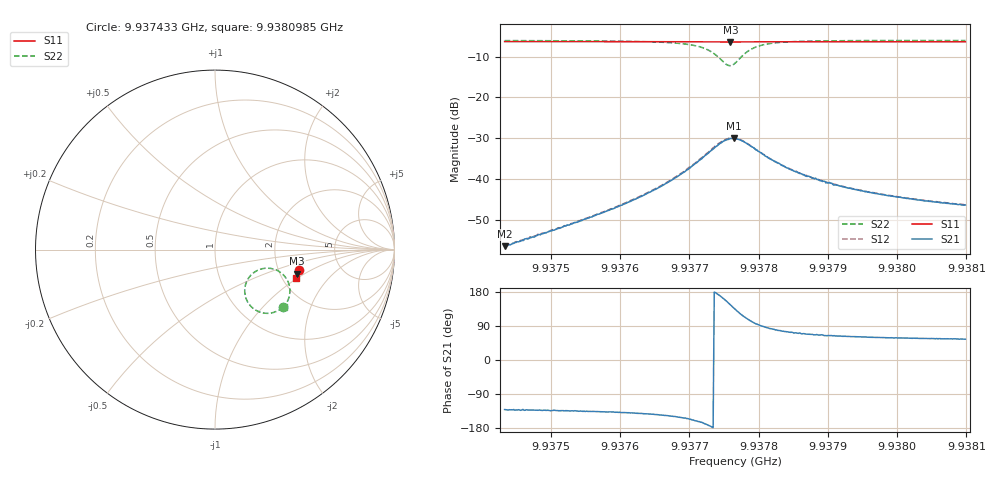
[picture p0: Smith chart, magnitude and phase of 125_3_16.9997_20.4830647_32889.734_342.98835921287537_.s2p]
#  HZ  S  RI  R  50.00
! Rohde & Schwarz Vector Network Analyzer
! Rohde-Schwarz,ZNB20-2Port,1311601062101988,3.16
! Created: UTC 3/20/2024, 10:57:43 PM
! freq[Hz]  re:S11  im:S11  re:S21  im:S21  re:S12  im:S12  re:S22  im:S22
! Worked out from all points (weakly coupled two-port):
!   401 points, 9.937433 GHz to 9.9380985 GHz, reference 50 ohm
!   highest |S21| = -30.00 dB at 9.9377641 GHz (marker M1); lowest = -56.4 dB at 9.937433 GHz (marker M2)
!   lowest |S11| = -6.4 dB at 9.9377591 GHz (marker M3), VSWR 2.83, Z = 124 - j43.3 ohm
!   |S11| at or under -10 dB: nowhere
!   |S22| runs from -12.2 to -6.0 dB; largest |S21 - S12| = 0.0015
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9.93743296e9  0.4691 -0.115  -0.000984 -0.00114  -0.00102 -0.00112  0.3792 -0.3204
9.93754445e9  0.4663 -0.1226  -0.0022 -0.00219  -0.00227 -0.0022  0.3631 -0.3331
9.93760601e9  0.4649 -0.1268  -0.00373 -0.00327  -0.00387 -0.00325  0.3463 -0.3426
9.93765593e9  0.4636 -0.1303  -0.00643 -0.00457  -0.00663 -0.00458  0.3204 -0.3517
9.93769088e9  0.4623 -0.1327  -0.0106 -0.00551  -0.011 -0.00542  0.2833 -0.3549
9.93770918e9  0.4614 -0.134  -0.0147 -0.0052  -0.015 -0.00515  0.2503 -0.3482
9.93772249e9  0.4605 -0.1348  -0.019 -0.00392  -0.0195 -0.00362  0.2175 -0.3311
9.93773414e9  0.4596 -0.1353  -0.0233 -0.000596  -0.0241 -2.79e-05  0.1855 -0.2974
9.93774412e9  0.459 -0.1355  -0.0269 0.00504  -0.0272 0.00605  0.167 -0.2467
9.93775244e9  0.4586 -0.1351  -0.0276 0.0117  -0.0277 0.0131  0.1713 -0.1913
9.9377591e9  0.4582 -0.1349  -0.026 0.0177  -0.0256 0.0189  0.1952 -0.1479
9.93776409e9  0.4585 -0.1347  -0.0232 0.0215  -0.0226 0.0227  0.2234 -0.1232
9.93776575e9  0.4585 -0.1346  -0.0221 0.0223  -0.0214 0.0237  0.2345 -0.1169
9.93777407e9  0.4592 -0.1347  -0.0154 0.0256  -0.0145 0.0265  0.2911 -0.1033
9.93778406e9  0.4597 -0.1351  -0.00825 0.0256  -0.00735 0.0261  0.3472 -0.1163
9.93780236e9  0.4603 -0.1366  -0.000271 0.0212  0.000287 0.0211  0.3995 -0.1644
9.93782566e9  0.4602 -0.1387  0.00294 0.0158  0.00343 0.0157  0.4164 -0.213
9.9378423e9  0.4601 -0.1401  0.00366 0.0131  0.00398 0.013  0.4175 -0.2355
9.93787724e9  0.4593 -0.1428  0.00388 0.00946  0.0042 0.00952  0.4129 -0.2648
9.93791052e9  0.4585 -0.1452  0.00379 0.00762  0.00395 0.00763  0.4069 -0.2812
9.93798872e9  0.4564 -0.1506  0.00326 0.00533  0.00338 0.00534  0.3956 -0.3021
9.93809854e9  0.4536 -0.1576  0.00276 0.00394  0.00284 0.00392  0.3843 -0.3176
